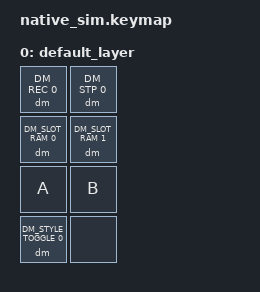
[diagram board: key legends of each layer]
#include <dt-bindings/zmk/keys.h>
#include <behaviors.dtsi>
#include <dt-bindings/zmk/kscan_mock.h>
#include <behaviors/dynamic_macro.dtsi>
#include <dt-bindings/zmk/dynamic_macros.h>

&kscan {
    rows = <4>;
    columns = <2>;
    exit-after;
    events = <
        /* DM_STYLE_TOGGLE: FULL -> ARROW (types "[DM FB:ARROW]") */
        ZMK_MOCK_PRESS(3,0,10)
        ZMK_MOCK_RELEASE(3,0,2000)
        /* Record A, stop, assign to slot 0 — feedback now in ARROW style */
        ZMK_MOCK_PRESS(0,0,10)
        ZMK_MOCK_RELEASE(0,0,2000)
        ZMK_MOCK_PRESS(2,0,10)
        ZMK_MOCK_RELEASE(2,0,10)
        ZMK_MOCK_PRESS(0,1,10)
        ZMK_MOCK_RELEASE(0,1,2000)
        ZMK_MOCK_PRESS(1,0,10)
        ZMK_MOCK_RELEASE(1,0,2000)
        /* Play slot 0 */
        ZMK_MOCK_PRESS(1,0,2000)
        ZMK_MOCK_RELEASE(1,0,10)
    >;
};

/ {
    keymap {
        compatible = "zmk,keymap";
        default_layer {
            bindings = <
                &dm DM_REC 0          &dm DM_STP 0
                &dm DM_SLOT_RAM 0     &dm DM_SLOT_RAM 1
                &kp A                 &kp B
                &dm DM_STYLE_TOGGLE 0 &none
            >;
        };
    };
};
